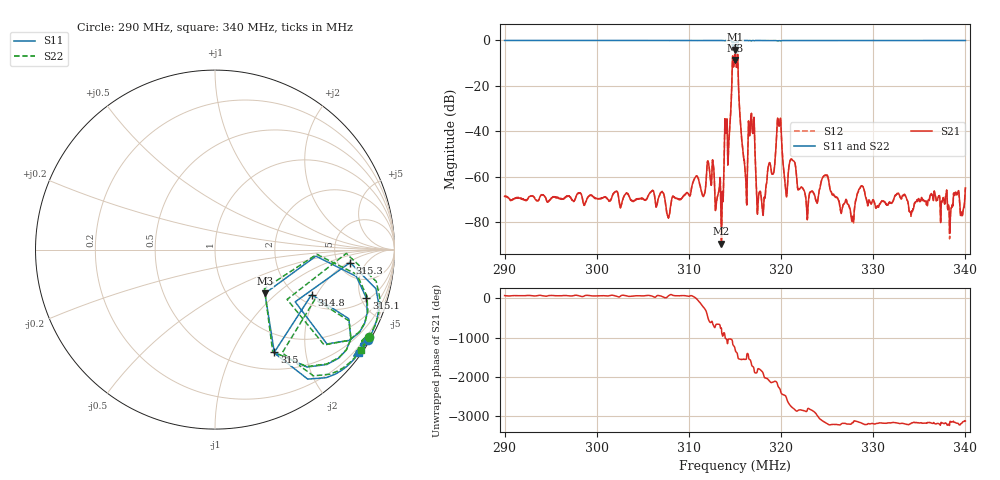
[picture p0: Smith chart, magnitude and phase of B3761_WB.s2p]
! S-Parameter for B3761 in Touchstone format with Magnitude (lin) and Phase
! Normalised impedance: 50 Ohm. Measurement system: 50 Ohm. Ta=20°C
! B3761_50.S2P not matched. Measurement full 2-port calibrated incl. Port.Ext.
! Start: 290MHz, Stop: 340MHz, Span 50MHz, 1601Pts., Step 31.25kHz.
! Date: 14/12/04 - EPCOS SAW CE AE PD; AB
! Pinning according data sheet recommendation: IN P2, OUT P5, other GND
# MHz  S  MA  R  50
! Freq  S11  S21  S12  S22
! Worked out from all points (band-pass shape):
!   1601 points, 290 MHz to 340 MHz, reference 50 ohm
!   highest |S21| = -4.08 dB at 315 MHz (marker M1); lowest = -89.4 dB at 313.5 MHz (marker M2)
!   |S21| within 3 dB of the highest: 314.7463 MHz to 314.7525 MHz (6.195 kHz wide, 0.00197 % of centre); 314.9523 MHz to 315.057 MHz (104.7 kHz wide, 0.0332 % of centre) (the widest 2 of 3)
!   lowest |S11| = -8.6 dB at 315 MHz (marker M3), VSWR 2.17, Z = 74.4 - j42 ohm
!   |S11| at or under -10 dB: nowhere
!   |S22| runs from -9.1 to -0.1 dB; largest |S21 - S12| = 0.0058
!   S11 on the Smith chart (normalised r, x): 290 MHz: 0.07, -3.65; 314.8 MHz: 2.34, -1.82; 315 MHz: 0.73, -1.48; 315.1 MHz: 2.20, -5.54; 315.3 MHz: 6.46, -2.18; 340 MHz: 0.06, -3.12
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290  0.991 -30.6  0.0003748 67.3  0.0003757 66.9  0.9893 -29.6
298.3438  0.9903 -31.6  0.0004033 45.7  0.0003936 45.1  0.9887 -30.5
306.6875  0.9897 -32.7  0.0003368 69.0  0.0003332 69.2  0.9876 -31.6
311.5625  0.988 -33.9  0.0003695 135.1  0.000373 135.1  0.9862 -32.7
312.125  0.9859 -33.8  0.002009 178.0  0.002005 178.3  0.9842 -32.8
313.5312  0.9892 -35.4  3.404e-05 -49.7  2.999e-05 -47.8  0.987 -34.3
314.75  0.5939 -25.0  0.4534 -72.4  0.453 -72.1  0.6223 -26.4
314.9688  0.661 -60.0  0.5214 -172.9  0.5193 -172.6  0.6534 -60.5
315  0.3698 -41.2  0.625 151.8  0.6242 152.2  0.3508 -38.2
315.0938  0.8862 -17.8  0.3245 79.0  0.3242 79.2  0.8863 -17.1
315.3125  0.7565 -5.5  0.3599 -61.7  0.3622 -61.2  0.7317 -1.7
316.0625  0.9903 -30.2  0.001717 -116.5  0.00171 -116.5  0.9884 -29.0
316.875  0.9872 -31.3  0.01056 72.9  0.01053 73.0  0.9853 -30.2
317.5938  0.9888 -32.2  0.0004227 4.5  0.0004256 5.3  0.9869 -31.0
319.1562  0.984 -32.7  0.001156 29.4  0.00116 29.6  0.9817 -31.7
319.7812  0.9812 -32.8  0.01289 -116.7  0.01286 -116.6  0.9793 -31.7
320.5  0.9861 -32.8  0.0005355 31.5  0.0005317 31.0  0.9846 -31.7
321.2188  0.9867 -32.9  0.002328 99.1  0.002317 99.4  0.985 -31.8
322.75  0.9895 -33.3  0.0002384 -0.5  0.0002374 -1.0  0.9876 -32.1
323.3438  0.9892 -33.5  0.0004795 29.4  0.0004873 30.0  0.987 -32.3
331.6875  0.9897 -34.6  0.0002699 71.7  0.000262 72.6  0.9877 -33.4
340  0.9885 -35.5  0.0005662 117.9  0.0005894 115.8  0.9863 -34.4
